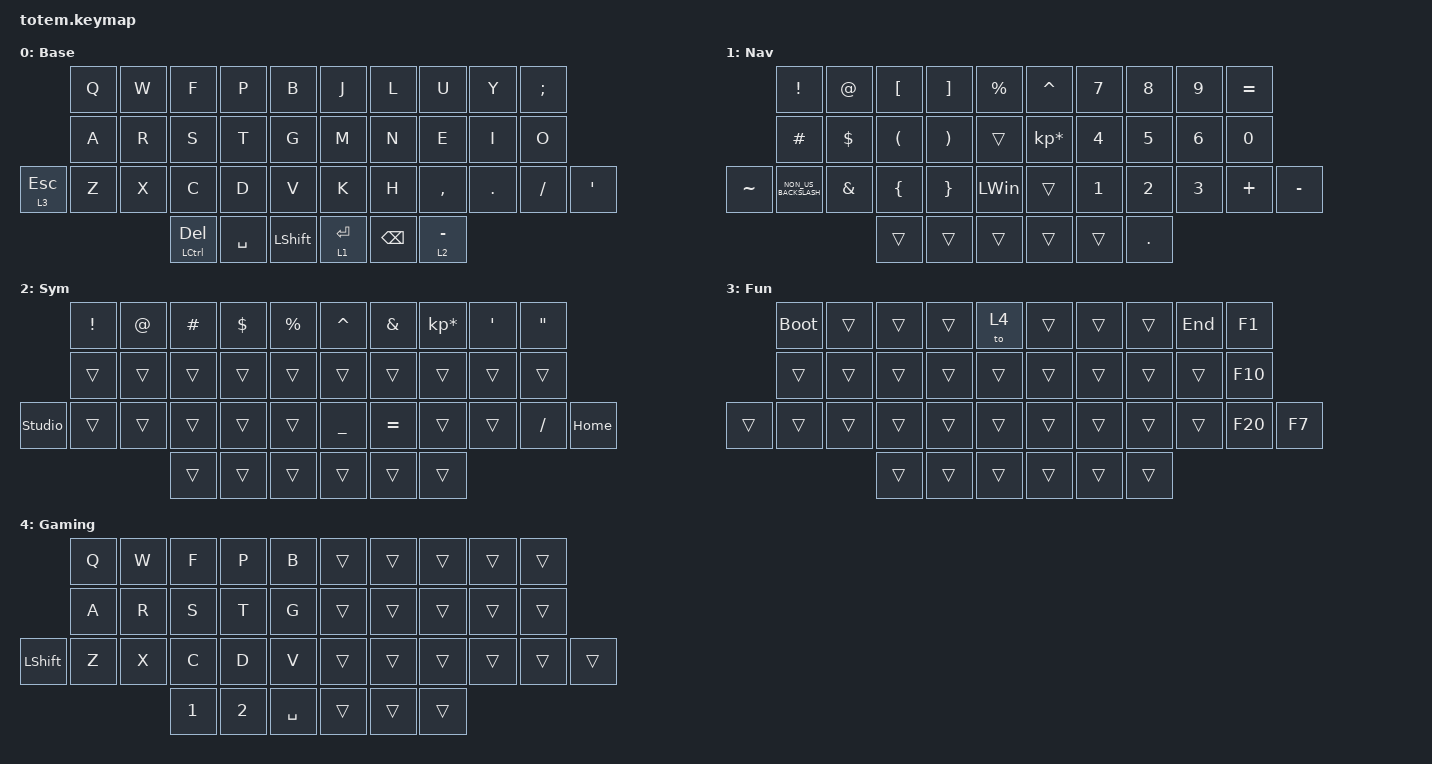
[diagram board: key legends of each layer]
//
//                                                        ▀▀▀▀▀     ▀▀▀▀▀          ▀▀█▀▀
//                                                        ▄▀▀▀▄  ▄  ▄▀▀▀▄  ▄  ▄▀▀▀▄  █  ▄▀▀▀▄
//                                                        █   █  █  █   █  █  █   █  █  █   █
//                                                         ▀▀▀   █   ▀▀▀   █   ▀▀▀   ▀   ▀▀▀
//                                                               █      ▄▄▄█▄▄▄    █   █  
//                                                               ▀      █  █  █     █▄█
//                                                             ▀▀▀▀▀    █  █  █      ▀
//                                                                      ▀  ▀  ▀
//
// ▄▄▄▄▄▄▄▄▄▄▄▄▄▄▄▄▄▄▄▄▄▄▄▄▄▄▄▄▄▄▄▄▄▄▄▄▄▄▄▄▄▄▄▄▄▄▄▄▄▄▄▄▄▄▄▄▄▄▄▄▄▄▄▄▄▄▄▄▄▄▄▄▄▄▄▄▄▄▄▄▄▄▄▄▄▄▄▄▄▄▄▄▄▄▄▄▄▄▄▄▄▄▄▄▄▄▄▄▄▄▄▄▄▄▄▄▄▄▄▄▄▄▄▄▄▄▄▄▄▄▄▄▄▄▄▄▄▄▄▄▄▄▄▄▄▄▄▄▄

#include <behaviors.dtsi>
#include <dt-bindings/zmk/keys.h>

#define Base        0
#define Nav         1
#define Sym         2
#define Fun         3
#define Game        4
#define Gameplus    5

&mt {
    quick-tap-ms = <100>;
    global-quick-tap;
    flavor = "tap-preferred";
    tapping-term-ms = <170>;
};

&lt {
    tapping-term-ms = <240>;
    flavor = "balanced";
    quick-tap-ms = <150>;
};

/ {
    behaviors {
        hm: homerow_mods {
            compatible = "zmk,behavior-hold-tap";
            label = "HOMEROW_MODS";
            #binding-cells = <2>;
            flavor = "tap-preferred";
            tapping-term-ms = <200>;
            quick-tap-ms = <125>;
            global-quick-tap;
            bindings = <&kp>, <&kp>;
        };
    };

    combos {
        compatible = "zmk,combos";

        alt {
            bindings = <&kp LEFT_ALT>;
            key-positions = <33 36>;
        };

        tab {
            bindings = <&kp TAB>;
            key-positions = <0 1>;
        };

        gaming {
            bindings = <&tog 4>;
            key-positions = <16 17 18>;
        };
    };

    keymap {
        compatible = "zmk,keymap";

        Base {
            display-name = "Base";
            bindings = <
              &kp Q  &kp W  &kp F          &kp P      &kp B             &kp J      &kp L          &kp U        &kp Y    &kp SEMICOLON
              &kp A  &kp R  &kp S          &kp T      &kp G             &kp M      &kp N          &kp E        &kp I    &kp O
&lt 3 ESCAPE  &kp Z  &kp X  &kp C          &kp D      &kp V             &kp K      &kp H          &kp COMMA    &kp DOT  &kp SLASH      &kp APOSTROPHE
                            &mt LCTRL DEL  &kp SPACE  &kp LEFT_SHIFT    &lt 1 RET  &kp BACKSPACE  &lt 2 MINUS
            >;
        };

        Nav {
            display-name = "Nav";
            bindings = <
           &kp EXCLAMATION       &kp AT_SIGN    &kp LEFT_BRACKET      &kp RIGHT_BRACKET      &kp PERCENT     &kp CARET        &kp NUMBER_7  &kp NUMBER_8  &kp NUMBER_9  &kp EQUAL
           &kp HASH              &kp DOLLAR     &kp LEFT_PARENTHESIS  &kp RIGHT_PARENTHESIS  &trans          &kp KP_MULTIPLY  &kp NUMBER_4  &kp NUMBER_5  &kp NUMBER_6  &kp N0
&kp TILDE  &kp NON_US_BACKSLASH  &kp AMPERSAND  &kp LEFT_BRACE        &kp RIGHT_BRACE        &kp LEFT_WIN    &trans           &kp NUMBER_1  &kp NUMBER_2  &kp NUMBER_3  &kp PLUS   &kp MINUS
                                                &trans                &trans                 &trans          &trans           &trans        &kp DOT
            >;
        };

        Sym {
            display-name = "Sym";
            bindings = <
                &kp EXCL  &kp AT  &kp HASH  &kp DOLLAR  &kp PERCENT    &kp CARET  &kp AMPERSAND  &kp KP_ASTERISK  &kp SQT  &kp DQT
                &trans    &trans  &trans    &trans      &trans         &trans     &trans         &trans           &trans   &trans
&studio_unlock  &trans    &trans  &trans    &trans      &trans         &kp UNDER  &kp EQUAL      &trans           &trans   &kp SLASH  &kp HOME
                                  &trans    &trans      &trans         &trans     &trans         &trans
            >;
        };

        Fun {
            display-name = "Fun";
            bindings = <
        &bootloader  &trans  &trans  &trans  &to 4     &trans  &trans  &trans  &kp END  &kp F1
        &trans       &trans  &trans  &trans  &trans    &trans  &trans  &trans  &trans   &kp F10
&trans  &trans       &trans  &trans  &trans  &trans    &trans  &trans  &trans  &trans   &kp F20  &kp F7
                             &trans  &trans  &trans    &trans  &trans  &trans
            >;
        };

        Gaming {
            display-name = "Gaming";
            bindings = <
                &kp Q  &kp W  &kp F         &kp P         &kp B        &trans  &trans  &trans  &trans  &trans
                &kp A  &kp R  &kp S         &kp T         &kp G        &trans  &trans  &trans  &trans  &trans
&kp LEFT_SHIFT  &kp Z  &kp X  &kp C         &kp D         &kp V        &trans  &trans  &trans  &trans  &trans  &trans
                              &kp NUMBER_1  &kp NUMBER_2  &kp SPACE    &trans  &trans  &trans
            >;
        };
    };
};
